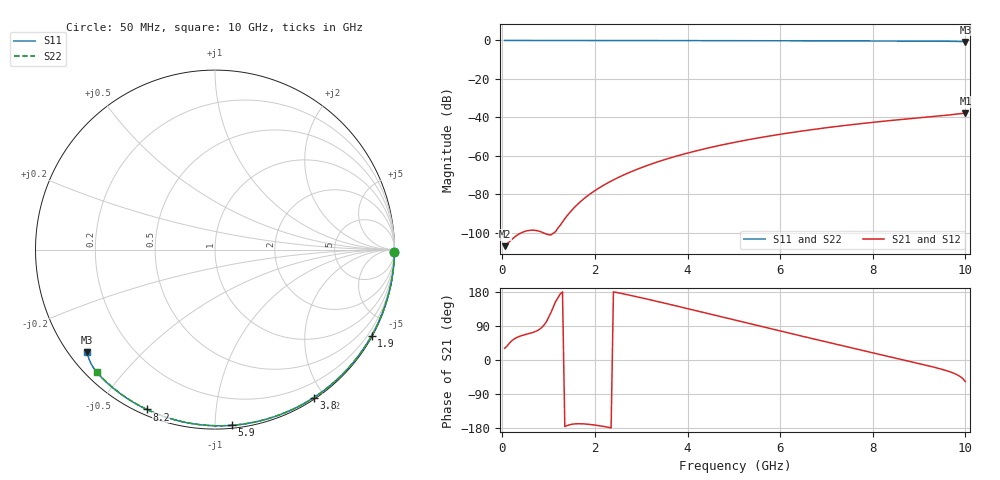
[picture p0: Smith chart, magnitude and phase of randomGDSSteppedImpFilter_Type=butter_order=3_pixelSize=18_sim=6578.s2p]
! freq	dB(S11)	phase(S11)	dB(S12)	phase(S12)
!  dB(S21)	phase(S21)	dB(S22)	phase(S22)
!S-par simulation data
#  GHz  S  DB  R 50
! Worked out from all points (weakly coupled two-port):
!   200 points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, 50 MHz to 10 GHz, reference 50 ohm
!   highest |S21| = -37.76 dB at 10 GHz (marker M1); lowest = -106.8 dB at 50 MHz (marker M2)
!   lowest |S11| = -0.8 dB at 10 GHz (marker M3), VSWR 21.85, Z = 2.57 - j17.5 ohm
!   |S11| at or under -10 dB: nowhere
!   |S22| runs from -0.5 to 0.0 dB; largest |S21 - S12| = 0
!   S11 on the Smith chart (normalised r, x): 50 MHz: open; 1.9 GHz: 0.03, -3.88; 3.8 GHz: 0.02, -1.87; 5.9 GHz: 0.02, -1.10; 8.2 GHz: 0.02, -0.66; 10 GHz: 0.05, -0.35
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0.05  -0.00 -0.8  -106.84 30.9  -106.84 30.9  -0.00 -0.8
0.9  -0.02 -13.8  -100.07 92.2  -100.07 92.2  -0.02 -13.8
1.75  -0.03 -26.6  -82.45 -168.6  -82.45 -168.6  -0.03 -26.6
1.85  -0.04 -28.1  -80.55 -169.5  -80.55 -169.5  -0.04 -28.1
1.9  -0.04 -28.9  -79.66 -170.1  -79.66 -170.1  -0.04 -28.8
2.2  -0.04 -33.3  -75.03 -175.6  -75.03 -175.6  -0.04 -33.2
2.55  -0.05 -38.5  -70.64 176.2  -70.64 176.2  -0.05 -38.4
2.95  -0.06 -44.3  -66.54 165.6  -66.54 165.6  -0.06 -44.2
3.4  -0.07 -50.7  -62.70 153.0  -62.70 153.0  -0.07 -50.6
3.8  -0.08 -56.4  -59.80 141.4  -59.80 141.4  -0.08 -56.2
4.4  -0.09 -64.7  -56.10 123.8  -56.10 123.8  -0.09 -64.5
5.05  -0.11 -73.4  -52.75 104.6  -52.75 104.6  -0.11 -73.2
5.9  -0.14 -84.6  -49.12 79.6  -49.12 79.6  -0.14 -84.3
6.7  -0.18 -94.7  -46.27 56.3  -46.27 56.3  -0.18 -94.4
7.45  -0.23 -104.0  -44.00 34.7  -44.00 34.7  -0.23 -103.6
8.2  -0.28 -113.2  -42.03 13.4  -42.03 13.4  -0.28 -112.6
8.35  -0.29 -115.0  -41.67 9.2  -41.67 9.2  -0.29 -114.4
9.05  -0.35 -123.6  -40.07 -10.8  -40.07 -10.8  -0.35 -122.7
9.6  -0.42 -131.2  -38.82 -28.5  -38.82 -28.5  -0.41 -129.2
9.85  -0.50 -136.0  -38.15 -40.9  -38.15 -40.9  -0.44 -132.2
9.95  -0.63 -139.1  -37.85 -49.8  -37.85 -49.8  -0.45 -133.4
10  -0.80 -141.3  -37.76 -57.0  -37.76 -57.0  -0.46 -134.0
